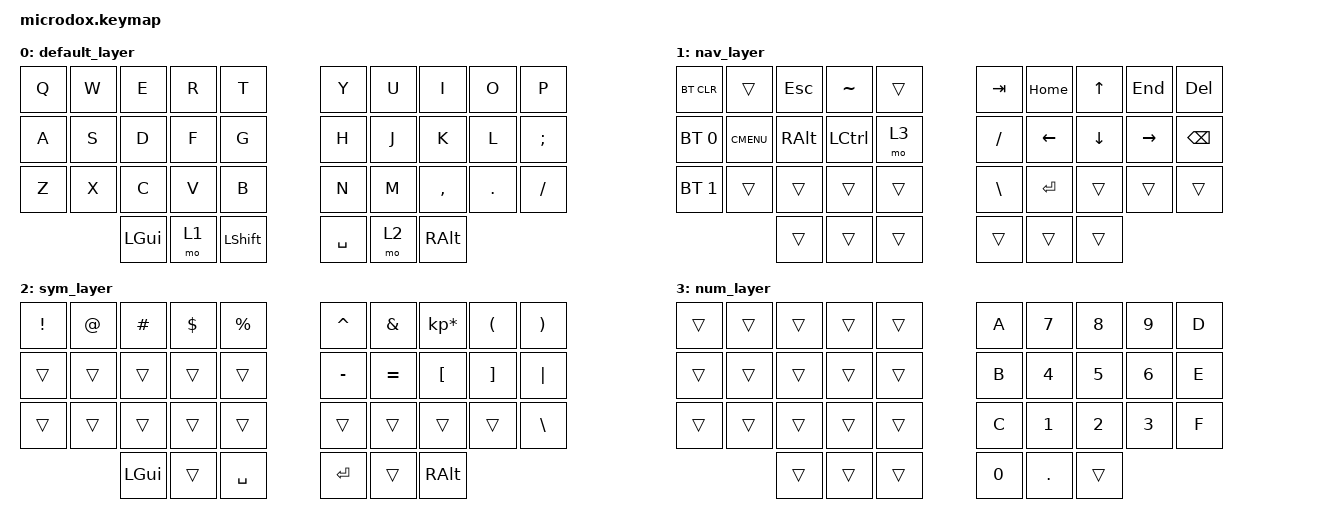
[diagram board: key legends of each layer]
/*
 * Copyright (c) 2020 The ZMK Contributors
 *
 * SPDX-License-Identifier: MIT
 */

#include <behaviors.dtsi>
#include <dt-bindings/zmk/keys.h>
#include <dt-bindings/zmk/bt.h>

/ {

	chosen {
		zmk,underglow = &led_strip;
	};
        keymap {
                compatible = "zmk,keymap";

                default_layer {
// -----------------------------------------------------------------------------------------
// |  Q  |  W  |  E  |  R  |  T   |   |  Y  |  U   |  I  |  O  |  P  |
// |  A  |  S  |  D  |  F  |  G   |   |  H  |  J   |  K  |  L  |  ;  |
// |  Z  |  X  |  C  |  V  |  B   |   |  N  |  M   |  ,  |  .  |  /  |
//             | GUI | NAV | SHFT |   | SPC | SYM  | ALT |
                        bindings = <
   &kp Q &kp W &kp E &kp R &kp T   &kp Y &kp U  &kp I     &kp O   &kp P
   &kp A &kp S &kp D &kp F &kp G   &kp H &kp J  &kp K     &kp L   &kp SEMI
   &kp Z &kp X &kp C &kp V &kp B   &kp N &kp M  &kp COMMA &kp DOT &kp FSLH
          &kp LGUI &mo 1 &kp LSHFT &kp SPACE &mo 2 &kp RALT
                        >;
                };
                nav_layer {
// -----------------------------------------------------------------------------------------
// |BTCLR|     | ESC |  ~   |     |   | TAB | HOME |  UP  | END | DEL  |
// | BT1 | GUI | ALT | CTRL | NUM |   |  /  | LEFT | DOWN | RGT | BKSP |
// | BT2 |     |     |      |     |   |  \  | ENT  |      |     |      |
//             |     |      |     |   |     |      |      |
                        bindings = <
   &bt BT_CLR   &trans      &kp ESC  &kp TILDE &trans     &kp TAB  &kp HOME &kp UP   &kp END   &kp DEL
   &bt BT_SEL 0 &kp K_CMENU &kp RALT &kp LCTRL &mo 3      &kp FSLH &kp LEFT &kp DOWN &kp RIGHT &kp BSPC
   &bt BT_SEL 1 &trans      &trans   &trans    &trans     &kp BSLH &kp RET  &trans   &trans    &trans
                            &trans   &trans    &trans     &trans   &trans   &trans
                        >;
                };

                sym_layer {
// -----------------------------------------------------------------------------------------
// |  !  |  @  |  #  |  $  |  %  |   |  ^  |  &  |  *  |  (  |  )  |
// |     |     |     |     |     |   |  -  |  =  |  {  |  }  | "|" |
// |     |     |     |     |     |   |  _  |  +  |  [  |  ]  |  \  |
//             | GUI |     | SPC |   | ENT |     | ALT |
                        bindings = <
   &kp EXCL  &kp AT    &kp HASH  &kp DLLR  &kp PRCNT   &kp CARET &kp AMPS  &kp KP_MULTIPLY &kp LPAR &kp RPAR
   &trans    &trans    &trans    &trans    &trans      &kp MINUS &kp EQUAL &kp LBKT        &kp RBKT &kp PIPE
   &trans    &trans    &trans    &trans    &trans      &trans    &trans    &trans          &trans   &kp BSLH
                       &kp LGUI  &trans    &kp SPACE   &kp RET   &trans    &kp RALT
                        >;
                };

// This layer is unreachable until "tri layer state" is sorted out.
// Leaving it here for completeness.
                num_layer {
// -----------------------------------------------------------------------------------------
// |     |     |     |     |     |   |  A  |  7  |  8  |  9  |  D  |
// |     |     |     |     |     |   |  B  |  4  |  5  |  6  |  E  |
// |     |     |     |     |     |   |  C  |  1  |  2  |  3  |  F  |
//             |     |     |     |   |  0  |  .  |     |
                        bindings = <
   &trans &trans &trans &trans &trans    &kp A  &kp N7  &kp N8 &kp N9 &kp D
   &trans &trans &trans &trans &trans    &kp B  &kp N4  &kp N5 &kp N6 &kp E
   &trans &trans &trans &trans &trans    &kp C  &kp N1  &kp N2 &kp N3 &kp F
                 &trans &trans &trans    &kp N0 &kp DOT &trans
                        >;
                };
        };
};
/*
 * Copyright (c) 2020 The ZMK Contributors
 *
 * SPDX-License-Identifier: MIT
 */
&spi1 {
	compatible = "nordic,nrf-spim";
	/* Cannot be used together with i2c0. */
	status = "okay";
	mosi-pin = <10>;
	// Unused pins, needed for SPI definition, but not used by the ws2812 driver itself.
	sck-pin = <25>;
	miso-pin = <26>;

	led_strip: ws2812@0 {
		compatible = "worldsemi,ws2812-spi";
		label = "SK6812mini";

		/* SPI */
		reg = <0>; /* ignored, but necessary for SPI bindings */
		spi-max-frequency = <4000000>;

		/* WS2812 */
		chain-length = <6>; /* There are per-key RGB, but the first 6 are underglow */
		spi-one-frame = <0x70>;
		spi-zero-frame = <0x40>;
	};
};

/*
 * Copyright (c) 2020 The ZMK Contributors
 *
 * SPDX-License-Identifier: MIT
 */

//# include "microdox.dtsi"

&default_transform {
	col-offset = <5>;
};

&oled {
	segment-remap;
	com-invdir;
};

&kscan0 {
	col-gpios
		= <&pro_micro_d 15 GPIO_ACTIVE_HIGH>
		, <&pro_micro_a  0 GPIO_ACTIVE_HIGH>
		, <&pro_micro_a  1 GPIO_ACTIVE_HIGH>
		, <&pro_micro_a  2 GPIO_ACTIVE_HIGH>
		, <&pro_micro_a  3 GPIO_ACTIVE_HIGH>
		;
};
